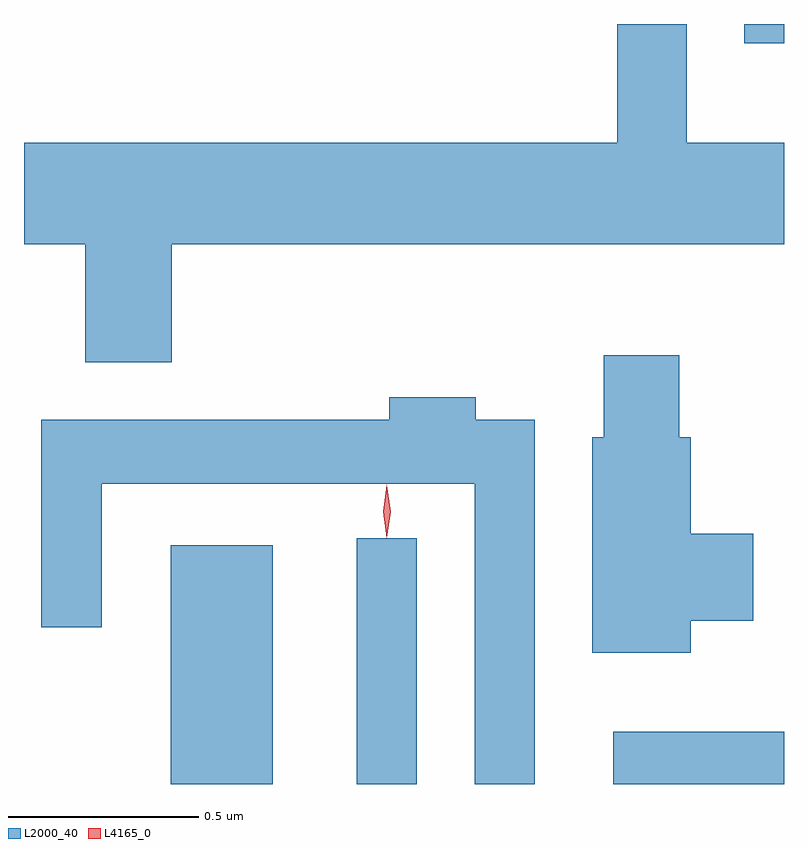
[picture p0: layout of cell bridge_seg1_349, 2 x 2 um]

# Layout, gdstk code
import gdstk
lib = gdstk.Library(unit=1e-6, precision=1e-09)
def R(c, l, rs):  # rectangles x0, y0, x1, y1
    for r in rs: c.add(gdstk.rectangle(r[:2], r[2:], *l))
def P(c, l, *ps):  # polygons
    for p in ps: c.add(gdstk.Polygon(p, *l))
L2000_40 = (2000, 40)
L4165_0 = (4165, 0)

bridge_seg1_349 = lib.new_cell('bridge_seg1_349')
R(bridge_seg1_349, L2000_40, [(922.706,889.276,922.974,889.904), (923.196,889.276,923.354,889.923), (923.871,889.276,924.32,889.414), (924.216,891.226,924.32,891.276)])
P(bridge_seg1_349, L2000_40, [(922.709,890.696),(924.32,890.696),(924.32,890.964),(924.064,890.964),(924.064,891.276),(923.881,891.276),(923.881,890.964),(922.32,890.964),(922.32,890.696),(922.481,890.696),(922.481,890.386),(922.709,890.386)],
  [(924.074,889.706),(924.239,889.706),(924.239,889.934),(924.074,889.934),(924.074,890.189),(924.044,890.189),(924.044,890.404),(923.846,890.404),(923.846,890.189),(923.816,890.189),(923.816,889.621),(924.074,889.621)],
  [(923.664,890.234),(923.509,890.234),(923.509,890.294),(923.281,890.294),(923.281,890.234),(922.366,890.234),(922.366,889.688),(922.524,889.688),(922.524,890.066),(923.506,890.066),(923.506,889.276),(923.664,889.276)])
P(bridge_seg1_349, L4165_0, [(923.274,889.924),(923.265,889.993),(923.274,890.062),(923.275,890.063),(923.275,890.062),(923.285,889.993),(923.275,889.924),(923.275,889.924)],
  [(923.274,889.927),(923.265,889.994),(923.274,890.06),(923.274,890.06),(923.275,890.06),(923.284,889.994),(923.275,889.927),(923.275,889.927)])

lib.write_gds('bridge_seg1_349.gds')
